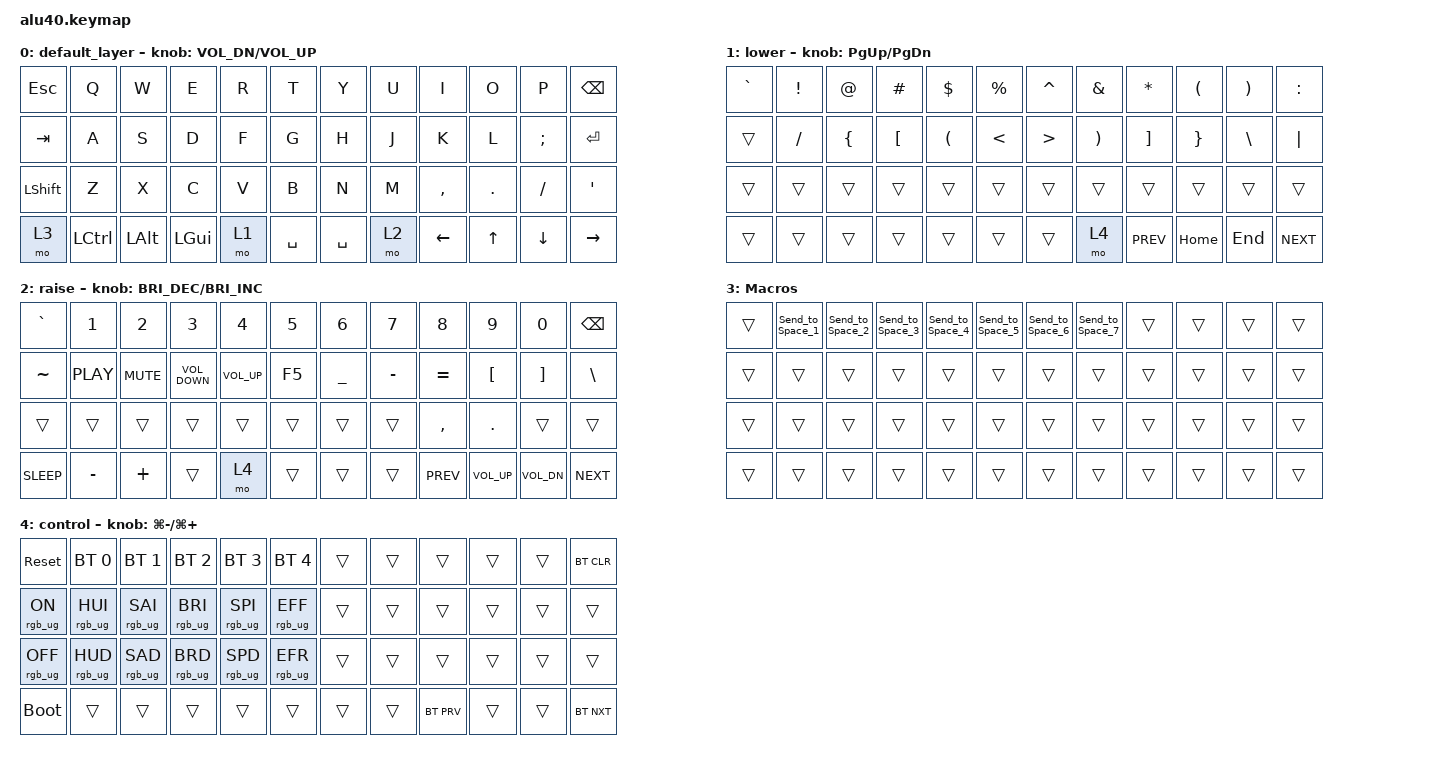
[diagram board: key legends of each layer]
/*
 * Copyright (c) 2022 The ZMK Contributors
 *
 * SPDX-License-Identifier: MIT
 */

#include <behaviors.dtsi>
#include <dt-bindings/zmk/bt.h>
#include <dt-bindings/zmk/keys.h>
#include <dt-bindings/zmk/rgb.h>

/ {
    macros {
        Send_to_Space_1: Send_to_Space_1 {
            compatible = "zmk,behavior-macro";
            label = "SEND_TO_SPACE_1";
            #binding-cells = <0>;
            bindings = <&kp LS(LA(NUMBER_1))>;
        };
        Send_to_Space_2: Send_to_Space_2 {
            compatible = "zmk,behavior-macro";
            label = "SEND_TO_SPACE_2";
            #binding-cells = <0>;
            bindings = <&kp LS(LA(NUMBER_2))>;
        };
        Send_to_Space_3: Send_to_Space_3 {
            compatible = "zmk,behavior-macro";
            label = "SEND_TO_SPACE_3";
            #binding-cells = <0>;
            bindings = <&kp LS(LA(NUMBER_3))>;
        };
        Send_to_Space_4: Send_to_Space_4 {
            compatible = "zmk,behavior-macro";
            label = "SEND_TO_SPACE_4";
            #binding-cells = <0>;
            bindings = <&kp LS(LA(NUMBER_4))>;
        };
        Send_to_Space_5: Send_to_Space_5 {
            compatible = "zmk,behavior-macro";
            label = "SEND_TO_SPACE_5";
            #binding-cells = <0>;
            bindings = <&kp LS(LA(N5))>;
        };
        Send_to_Space_6: Send_to_Space_6 {
            compatible = "zmk,behavior-macro";
            label = "SEND_TO_SPACE_6";
            #binding-cells = <0>;
            bindings = <&kp LS(LA(NUMBER_6))>;
        };
        Send_to_Space_7: Send_to_Space_7 {
            compatible = "zmk,behavior-macro";
            label = "SEND_TO_SPACE_7";
            #binding-cells = <0>;
            bindings = <&kp LS(LA(N7))>;
        };
    };

    keymap {
        compatible = "zmk,keymap";

        default_layer {
            // -----------------------------------------------------------------------------------------
            // | ESC/~ |  Q   |  W   |  E   |  R   |  T   |   Y   |  U    |  I   |  O   |   P   | BSPC  |
            // | TAB   |  A   |  S   |  D   |  F   |  G   |   H   |  J    |  K   |  L   |   ;   |  '    |
            // | SHIFT |  Z   |  X   |  C   |  V   |  B   |   N   |  M    |  ,   |  .   |   /   |RET/SFT|
            // | PLAY  | LCTL | LALT | LGUI | LOWR |     SPACE    |  RAIS | LARW | UARW | DARW  |  RARW |

            bindings = <
&kp ESCAPE  &kp Q      &kp W     &kp E     &kp R  &kp T      &kp Y      &kp U  &kp I      &kp O    &kp P     &kp BSPC
&kp TAB     &kp A      &kp S     &kp D     &kp F  &kp G      &kp H      &kp J  &kp K      &kp L    &kp SEMI  &kp RETURN
&kp LSHFT   &kp Z      &kp X     &kp C     &kp V  &kp B      &kp N      &kp M  &kp COMMA  &kp DOT  &kp FSLH  &kp SQT
&mo 3       &kp LCTRL  &kp LALT  &kp LGUI  &mo 1  &kp SPACE  &kp SPACE  &mo 2  &kp LEFT   &kp UP   &kp DOWN  &kp RIGHT
            >;

            sensor-bindings = <&inc_dec_kp C_VOL_DN C_VOL_UP>;
        };

        lower {
            bindings = <
&kp GRAVE  &kp EXCLAMATION  &kp AT_SIGN     &kp POUND         &kp DOLLAR            &kp PERCENT    &kp CARET         &kp AMPERSAND          &kp ASTERISK       &kp LEFT_PARENTHESIS  &kp RIGHT_PARENTHESIS  &kp COLON
&trans     &kp SLASH        &kp LEFT_BRACE  &kp LEFT_BRACKET  &kp LEFT_PARENTHESIS  &kp LESS_THAN  &kp GREATER_THAN  &kp RIGHT_PARENTHESIS  &kp RIGHT_BRACKET  &kp RIGHT_BRACE       &kp BACKSLASH          &kp PIPE
&trans     &trans           &trans          &trans            &trans                &trans         &trans            &trans                 &trans             &trans                &trans                 &trans
&trans     &trans           &trans          &trans            &trans                &trans         &trans            &mo 4                  &kp C_PREV         &kp HOME              &kp END                &kp C_NEXT
            >;

            sensor-bindings = <&inc_dec_kp PG_UP PG_DN>;
        };

        raise {
            bindings = <
&kp GRAVE    &kp N1      &kp N2      &kp N3             &kp N4           &kp N5  &kp N6     &kp N7     &kp N8      &kp N9        &kp N0        &kp BSPC
&kp TILDE    &kp C_PLAY  &kp C_MUTE  &kp C_VOLUME_DOWN  &kp C_VOLUME_UP  &kp F5  &kp UNDER  &kp MINUS  &kp EQUAL   &kp LBKT      &kp RBKT      &kp BSLH
&trans       &trans      &trans      &trans             &trans           &trans  &trans     &trans     &kp COMMA   &kp PERIOD    &trans        &trans
&kp C_SLEEP  &kp MINUS   &kp PLUS    &trans             &mo 4            &trans  &trans     &trans     &kp C_PREV  &kp C_VOL_UP  &kp C_VOL_DN  &kp C_NEXT
            >;

            sensor-bindings = <&inc_dec_kp C_BRI_DEC C_BRI_INC>;
        };

        Macros {
            bindings = <
&trans  &Send_to_Space_1  &Send_to_Space_2  &Send_to_Space_3  &Send_to_Space_4  &Send_to_Space_5  &Send_to_Space_6  &Send_to_Space_7  &trans  &trans  &trans  &trans
&trans  &trans            &trans            &trans            &trans            &trans            &trans            &trans            &trans  &trans  &trans  &trans
&trans  &trans            &trans            &trans            &trans            &trans            &trans            &trans            &trans  &trans  &trans  &trans
&trans  &trans            &trans            &trans            &trans            &trans            &trans            &trans            &trans  &trans  &trans  &trans
            >;
        };

        control {
            bindings = <
&sys_reset       &bt BT_SEL 0     &bt BT_SEL 1     &bt BT_SEL 2     &bt BT_SEL 3     &bt BT_SEL 4     &trans  &trans  &trans      &trans  &trans  &bt BT_CLR
&rgb_ug RGB_ON   &rgb_ug RGB_HUI  &rgb_ug RGB_SAI  &rgb_ug RGB_BRI  &rgb_ug RGB_SPI  &rgb_ug RGB_EFF  &trans  &trans  &trans      &trans  &trans  &trans
&rgb_ug RGB_OFF  &rgb_ug RGB_HUD  &rgb_ug RGB_SAD  &rgb_ug RGB_BRD  &rgb_ug RGB_SPD  &rgb_ug RGB_EFR  &trans  &trans  &trans      &trans  &trans  &trans
&bootloader      &trans           &trans           &trans           &trans           &trans           &trans  &trans  &bt BT_PRV  &trans  &trans  &bt BT_NXT
            >;

            sensor-bindings = <&inc_dec_kp LG(MINUS) LG(PLUS)>;
        };
    };
};
